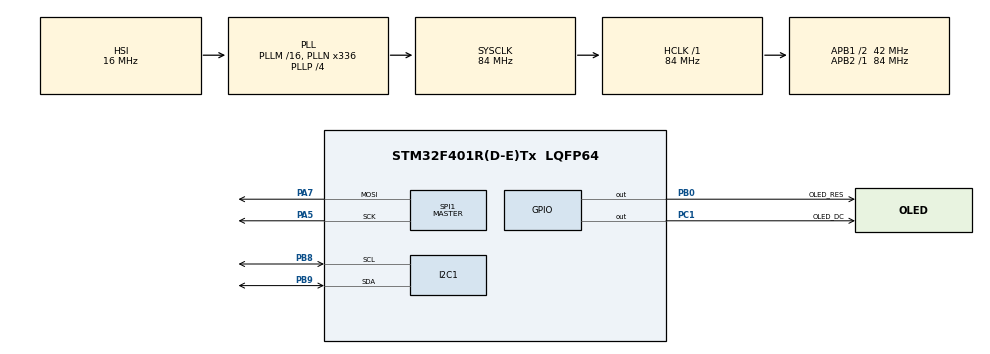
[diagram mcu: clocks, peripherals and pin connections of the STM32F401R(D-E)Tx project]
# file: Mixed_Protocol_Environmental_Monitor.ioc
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Mcu.Family=STM32F4
Mcu.Name=STM32F401R(D-E)Tx
Mcu.Package=LQFP64
NVIC.PriorityGroup=NVIC_PRIORITYGROUP_4
PA13.Mode=Serial_Wire
PA13.Signal=SYS_JTMS-SWDIO
PA14.Mode=Serial_Wire
PA14.Signal=SYS_JTCK-SWCLK
PA5.Mode=TX_Only_Simplex_Unidirect_Master
PA5.Signal=SPI1_SCK
PA7.Mode=TX_Only_Simplex_Unidirect_Master
PA7.Signal=SPI1_MOSI
PB0.GPIO_Label=OLED_RES
PB0.Signal=GPIO_Output
PB8.Mode=I2C
PB8.Signal=I2C1_SCL
PB9.Mode=I2C
PB9.Signal=I2C1_SDA
PC1.GPIO_Label=OLED_DC
PC1.Signal=GPIO_Output
ProjectManager.HeapSize=0x200
ProjectManager.StackSize=0x400
ProjectManager.TargetToolchain=STM32CubeIDE
RCC.48MHZClocksFreq_Value=48000000
RCC.AHBFreq_Value=84000000
RCC.APB1CLKDivider=RCC_HCLK_DIV2
RCC.APB1Freq_Value=42000000
RCC.APB1TimFreq_Value=84000000
RCC.APB2Freq_Value=84000000
RCC.APB2TimFreq_Value=84000000
RCC.CortexFreq_Value=84000000
RCC.HCLKFreq_Value=84000000
RCC.HSE_VALUE=8000000
RCC.HSI_VALUE=16000000
RCC.LSE_VALUE=32768
RCC.PLLN=336
RCC.PLLP=RCC_PLLP_DIV4
RCC.PLLQ=7
RCC.SYSCLKFreq_VALUE=84000000
RCC.SYSCLKSource=RCC_SYSCLKSOURCE_PLLCLK
RCC.VCOOutputFreq_Value=336000000
SPI1.BaudRatePrescaler=SPI_BAUDRATEPRESCALER_8
SPI1.Direction=SPI_DIRECTION_2LINES
SPI1.Mode=SPI_MODE_MASTER
SPI1.VirtualType=VM_MASTER
board=NUCLEO-F401RE

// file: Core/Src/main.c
/* USER CODE BEGIN Header */
/**
  ******************************************************************************
  * @file           : main.c
  * @brief          : Main program body
  ******************************************************************************
  * @attention
  *
  * Copyright (c) 2026 STMicroelectronics.
  * All rights reserved.
  *
  * This software is licensed under terms that can be found in the LICENSE file
  * in the root directory of this software component.
  * If no LICENSE file comes with this software, it is provided AS-IS.
  *
  ******************************************************************************
  */
/* USER CODE END Header */
#include "main.h"

/* USER CODE BEGIN Includes */
#include "bmp180.h"
#include "sh1106.h"
#include <stdio.h>
/* USER CODE END Includes */

I2C_HandleTypeDef hi2c1;

SPI_HandleTypeDef hspi1;

void SystemClock_Config(void);
static void MX_GPIO_Init(void);
static void MX_I2C1_Init(void);
static void MX_SPI1_Init(void);

/* USER CODE BEGIN 0 */
float temperature;
float pressure;
float altitude;
char display_msg[32];
/* USER CODE END 0 */

int main(void)
{

  /* MCU Configuration--------------------------------------------------------*/

  /* Reset of all peripherals, Initializes the Flash interface and the Systick. */
  HAL_Init();

  /* Configure the system clock */
  SystemClock_Config();

  /* Initialize all configured peripherals */
  MX_GPIO_Init();
  MX_I2C1_Init();
  MX_SPI1_Init();
  /* USER CODE BEGIN 2 */

  // calibration
  BMP180_Init();
  SH1106_Init();

  HAL_GPIO_WritePin(GPIOA, GPIO_PIN_5, GPIO_PIN_SET);

  /* USER CODE END 2 */

  /* Infinite loop */
  while (1)
  {

    /* USER CODE BEGIN 3 */

	  temperature = BMP180_GetTemperature();
	  pressure = BMP180_GetPressure(0);
	  altitude = BMP180_GetAltitude(0);

	  SH1106_Clear();

	  snprintf(display_msg, sizeof(display_msg), "TEMP: %.2f C", temperature);
	  SH1106_PrintStr(0, 4, display_msg, &Font_7x10);

	  snprintf(display_msg, sizeof(display_msg), "PRES: %.1f HPA", pressure);
	  SH1106_PrintStr(0, 24, display_msg, &Font_7x10);

	  snprintf(display_msg, sizeof(display_msg), "ALT: %.1f m", altitude);
	  SH1106_PrintStr(0, 44, display_msg, &Font_7x10);

	  SH1106_Update();

	  HAL_Delay(2000);

  }
  /* USER CODE END 3 */
}

void SystemClock_Config(void)
{
  RCC_OscInitTypeDef RCC_OscInitStruct = {0};
  RCC_ClkInitTypeDef RCC_ClkInitStruct = {0};

  /** Configure the main internal regulator output voltage
  */
  __HAL_RCC_PWR_CLK_ENABLE();
  __HAL_PWR_VOLTAGESCALING_CONFIG(PWR_REGULATOR_VOLTAGE_SCALE2);

  /** Initializes the RCC Oscillators according to the specified parameters
  * in the RCC_OscInitTypeDef structure.
  */
  RCC_OscInitStruct.OscillatorType = RCC_OSCILLATORTYPE_HSI;
  RCC_OscInitStruct.HSIState = RCC_HSI_ON;
  RCC_OscInitStruct.HSICalibrationValue = RCC_HSICALIBRATION_DEFAULT;
  RCC_OscInitStruct.PLL.PLLState = RCC_PLL_ON;
  RCC_OscInitStruct.PLL.PLLSource = RCC_PLLSOURCE_HSI;
  RCC_OscInitStruct.PLL.PLLM = 16;
  RCC_OscInitStruct.PLL.PLLN = 336;
  RCC_OscInitStruct.PLL.PLLP = RCC_PLLP_DIV4;
  RCC_OscInitStruct.PLL.PLLQ = 7;
  if (HAL_RCC_OscConfig(&RCC_OscInitStruct) != HAL_OK)
  {
    Error_Handler();
  }

  /** Initializes the CPU, AHB and APB buses clocks
  */
  RCC_ClkInitStruct.ClockType = RCC_CLOCKTYPE_HCLK|RCC_CLOCKTYPE_SYSCLK
                              |RCC_CLOCKTYPE_PCLK1|RCC_CLOCKTYPE_PCLK2;
  RCC_ClkInitStruct.SYSCLKSource = RCC_SYSCLKSOURCE_PLLCLK;
  RCC_ClkInitStruct.AHBCLKDivider = RCC_SYSCLK_DIV1;
  RCC_ClkInitStruct.APB1CLKDivider = RCC_HCLK_DIV2;
  RCC_ClkInitStruct.APB2CLKDivider = RCC_HCLK_DIV1;

  if (HAL_RCC_ClockConfig(&RCC_ClkInitStruct, FLASH_LATENCY_2) != HAL_OK)
  {
    Error_Handler();
  }
}

static void MX_I2C1_Init(void)
{

  hi2c1.Instance = I2C1;
  hi2c1.Init.ClockSpeed = 100000;
  hi2c1.Init.DutyCycle = I2C_DUTYCYCLE_2;
  hi2c1.Init.OwnAddress1 = 0;
  hi2c1.Init.AddressingMode = I2C_ADDRESSINGMODE_7BIT;
  hi2c1.Init.DualAddressMode = I2C_DUALADDRESS_DISABLE;
  hi2c1.Init.OwnAddress2 = 0;
  hi2c1.Init.GeneralCallMode = I2C_GENERALCALL_DISABLE;
  hi2c1.Init.NoStretchMode = I2C_NOSTRETCH_DISABLE;
  if (HAL_I2C_Init(&hi2c1) != HAL_OK)
  {
    Error_Handler();
  }

}

static void MX_SPI1_Init(void)
{

  /* SPI1 parameter configuration*/
  hspi1.Instance = SPI1;
  hspi1.Init.Mode = SPI_MODE_MASTER;
  hspi1.Init.Direction = SPI_DIRECTION_2LINES;
  hspi1.Init.DataSize = SPI_DATASIZE_8BIT;
  hspi1.Init.CLKPolarity = SPI_POLARITY_LOW;
  hspi1.Init.CLKPhase = SPI_PHASE_1EDGE;
  hspi1.Init.NSS = SPI_NSS_SOFT;
  hspi1.Init.BaudRatePrescaler = SPI_BAUDRATEPRESCALER_8;
  hspi1.Init.FirstBit = SPI_FIRSTBIT_MSB;
  hspi1.Init.TIMode = SPI_TIMODE_DISABLE;
  hspi1.Init.CRCCalculation = SPI_CRCCALCULATION_DISABLE;
  hspi1.Init.CRCPolynomial = 10;
  if (HAL_SPI_Init(&hspi1) != HAL_OK)
  {
    Error_Handler();
  }

}

static void MX_GPIO_Init(void)
{
  GPIO_InitTypeDef GPIO_InitStruct = {0};

  /* GPIO Ports Clock Enable */
  __HAL_RCC_GPIOC_CLK_ENABLE();
  __HAL_RCC_GPIOA_CLK_ENABLE();
  __HAL_RCC_GPIOB_CLK_ENABLE();

  /*Configure GPIO pin Output Level */
  HAL_GPIO_WritePin(OLED_DC_GPIO_Port, OLED_DC_Pin, GPIO_PIN_RESET);

  /*Configure GPIO pin Output Level */
  HAL_GPIO_WritePin(OLED_RES_GPIO_Port, OLED_RES_Pin, GPIO_PIN_RESET);

  /*Configure GPIO pin : OLED_DC_Pin */
  GPIO_InitStruct.Pin = OLED_DC_Pin;
  GPIO_InitStruct.Mode = GPIO_MODE_OUTPUT_PP;
  GPIO_InitStruct.Pull = GPIO_NOPULL;
  GPIO_InitStruct.Speed = GPIO_SPEED_FREQ_LOW;
  HAL_GPIO_Init(OLED_DC_GPIO_Port, &GPIO_InitStruct);

  /*Configure GPIO pin : OLED_RES_Pin */
  GPIO_InitStruct.Pin = OLED_RES_Pin;
  GPIO_InitStruct.Mode = GPIO_MODE_OUTPUT_PP;
  GPIO_InitStruct.Pull = GPIO_NOPULL;
  GPIO_InitStruct.Speed = GPIO_SPEED_FREQ_LOW;
  HAL_GPIO_Init(OLED_RES_GPIO_Port, &GPIO_InitStruct);

}

void Error_Handler(void)
{
  __disable_irq();
  while (1)
  {
  }
}
